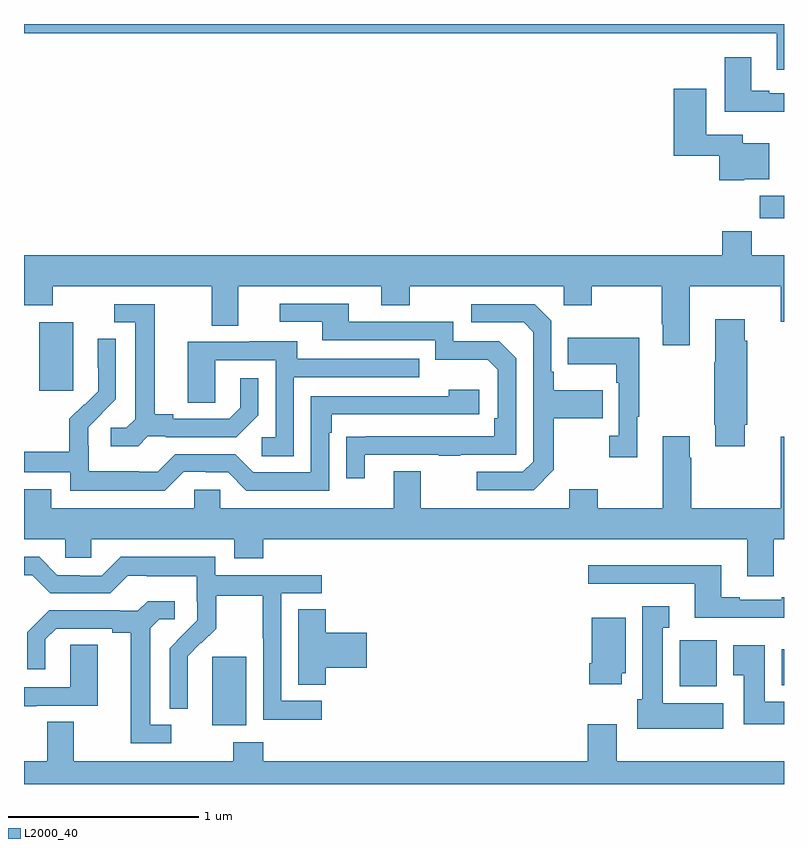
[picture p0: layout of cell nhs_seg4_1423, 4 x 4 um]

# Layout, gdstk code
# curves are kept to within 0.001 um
import gdstk
lib = gdstk.Library(unit=1e-6, precision=1e-09)
def R(c, l, rs):  # rectangles x0, y0, x1, y1
    for r in rs: c.add(gdstk.rectangle(r[:2], r[2:], *l))
def P(c, l, *ps):  # polygons
    for p in ps: c.add(gdstk.Polygon(p, *l))
L2000_40 = (2000, 40)

nhs_seg4_1423 = lib.new_cell('nhs_seg4_1423')
R(nhs_seg4_1423, L2000_40, [(185.99,761.21,186.169,761.571), (188.45,761.414,188.647,761.656), (188.987,761.42,189,761.608), (185.081,762.969,185.26,763.33), (188.872,763.878,189,763.996)])
P(nhs_seg4_1423, L2000_40, [(189,764.9),(185,764.9),(185,764.852),(188.963,764.852),(188.963,764.658),(189,764.658)],
  [(189,764.535),(188.923,764.535),(188.923,764.548),(188.827,764.548),(188.827,764.725),(188.687,764.725),(188.687,764.438),(189,764.438)],
  [(188.79,764.084),(188.923,764.084),(188.923,764.272),(188.782,764.272),(188.782,764.317),(188.59,764.317),(188.59,764.56),(188.42,764.56),(188.42,764.207),(188.66,764.207),(188.66,764.078),(188.79,764.078)],
  [(188.503,763.52),(188.984,763.52),(188.984,763.332),(189,763.332),(189,763.684),(188.831,763.684),(188.831,763.808),(188.675,763.808),(188.675,763.684),(185,763.684),(185,763.421),(185.151,763.421),(185.151,763.52),(185.987,763.52),(185.987,763.312),(186.127,763.312),(186.127,763.52),(186.881,763.52),(186.881,763.421),(187.029,763.421),(187.029,763.52),(187.842,763.52),(187.842,763.421),(187.989,763.421),(187.989,763.52),(188.356,763.52),(188.356,763.321),(188.363,763.321),(188.363,763.209),(188.503,763.209)],
  [(186.793,762.633),(187.183,762.633),(187.183,762.628),(187.295,762.628),(187.295,762.633),(187.59,762.633),(187.59,763.14),(187.5,763.23),(187.26,763.23),(187.26,763.332),(186.709,763.332),(186.709,763.428),(186.345,763.428),(186.345,763.332),(186.569,763.332),(186.569,763.236),(187.164,763.236),(187.164,763.133),(187.441,763.133),(187.494,763.08),(187.494,762.826),(187.474,762.826),(187.474,762.729),(186.697,762.728),(186.697,762.51),(186.793,762.51)],
  [(187.789,762.553),(187.789,762.826),(188.045,762.826),(188.045,762.973),(187.789,762.973),(187.789,763.069),(187.776,763.069),(187.776,763.338),(187.689,763.425),(187.353,763.425),(187.353,763.329),(187.629,763.329),(187.68,763.278),(187.68,762.597),(187.626,762.543),(187.383,762.543),(187.383,762.447),(187.683,762.447)],
  [(185.652,762.729),(185.746,762.729),(185.746,762.726),(186.118,762.726),(186.234,762.842),(186.234,763.036),(186.137,763.036),(186.137,762.879),(186.08,762.822),(185.785,762.822),(185.785,762.845),(185.689,762.845),(185.689,763.425),(185.475,763.425),(185.475,763.329),(185.585,763.329),(185.585,762.821),(185.538,762.774),(185.457,762.774),(185.457,762.677),(185.6,762.677)],
  [(188.794,762.79),(188.807,762.79),(188.807,763.232),(188.794,763.232),(188.794,763.345),(188.639,763.345),(188.639,763.121),(188.632,763.121),(188.632,762.79),(188.639,762.79),(188.639,762.678),(188.794,762.678)],
  [(188.227,762.833),(188.239,762.833),(188.239,763.249),(187.861,763.249),(187.861,763.109),(188.118,763.109),(188.118,763.013),(188.13,763.013),(188.13,762.734),(188.079,762.734),(188.079,762.621),(188.227,762.621)],
  [(185.841,762.543),(185.957,762.543),(185.957,762.54),(186.075,762.54),(186.171,762.444),(186.606,762.444),(186.606,762.749),(186.619,762.749),(186.619,762.846),(187.396,762.846),(187.396,762.976),(187.235,762.976),(187.235,762.942),(186.51,762.942),(186.51,762.54),(186.207,762.54),(186.111,762.636),(185.796,762.636),(185.703,762.543),(185.603,762.543),(185.603,762.547),(185.34,762.547),(185.34,762.681),(185.338,762.681),(185.338,762.778),(185.484,762.926),(185.484,763.244),(185.388,763.244),(185.388,763.09),(185.39,763.09),(185.39,762.968),(185.319,762.897),(185.316,762.9),(185.239,762.823),(185.239,762.649),(185,762.649),(185,762.54),(185.244,762.54),(185.244,762.443),(185.741,762.443)],
  [(186.42,763.041),(187.079,763.041),(187.079,763.137),(186.439,763.137),(186.439,763.231),(186.185,763.231),(186.185,763.227),(185.861,763.227),(185.861,762.907),(186.006,762.907),(186.006,763.131),(186.324,763.131),(186.324,762.726),(186.252,762.726),(186.252,762.625),(186.42,762.625)],
  [(188.947,762.188),(189,762.188),(189,762.727),(188.984,762.727),(188.984,762.352),(188.511,762.352),(188.511,762.617),(188.503,762.617),(188.503,762.73),(188.363,762.73),(188.363,762.352),(188.019,762.352),(188.019,762.451),(187.871,762.451),(187.871,762.352),(187.087,762.352),(187.087,762.547),(186.947,762.547),(186.947,762.352),(186.033,762.352),(186.033,762.45),(185.895,762.45),(185.895,762.352),(185.143,762.352),(185.143,762.451),(185,762.451),(185,762.188),(185.217,762.188),(185.217,762.09),(185.355,762.09),(185.355,762.188),(186.107,762.188),(186.107,762.089),(186.26,762.089),(186.26,762.188),(188.807,762.188),(188.807,761.994),(188.947,761.994)],
  [(186.568,761.337),(186.354,761.337),(186.354,761.904),(186.568,761.904),(186.568,762),(186.006,762),(186.006,762.097),(185.509,762.097),(185.409,761.997),(185.294,761.997),(185.294,762),(185.175,762),(185.079,762.096),(185,762.096),(185,762),(185.043,762),(185.139,761.904),(185.454,761.904),(185.547,761.997),(185.647,761.997),(185.647,761.993),(185.91,761.993),(185.91,761.859),(185.912,761.859),(185.912,761.762),(185.766,761.614),(185.766,761.296),(185.862,761.296),(185.861,761.573),(185.931,761.643),(185.934,761.64),(186.011,761.717),(186.011,761.892),(186.256,761.892),(186.256,761.668),(186.258,761.668),(186.258,761.239),(186.568,761.239)],
  [(189,761.884),(188.987,761.884),(188.987,761.871),(188.767,761.871),(188.767,761.884),(188.671,761.884),(188.671,762.052),(187.971,762.052),(187.971,761.955),(188.531,761.955),(188.531,761.774),(189,761.774)],
  [(185.776,761.211),(185.665,761.211),(185.665,761.719),(185.712,761.766),(185.794,761.766),(185.794,761.863),(185.65,761.863),(185.598,761.811),(185.504,761.811),(185.504,761.814),(185.132,761.814),(185.016,761.698),(185.016,761.505),(185.113,761.505),(185.113,761.661),(185.17,761.718),(185.465,761.718),(185.465,761.696),(185.561,761.696),(185.561,761.115),(185.776,761.115)],
  [(188.68,761.326),(188.362,761.326),(188.362,761.723),(188.395,761.723),(188.395,761.836),(188.255,761.836),(188.255,761.346),(188.228,761.346),(188.228,761.192),(188.68,761.192)],
  [(186.587,761.513),(186.805,761.513),(186.805,761.696),(186.587,761.696),(186.587,761.819),(186.443,761.819),(186.443,761.422),(186.587,761.422)],
  [(188.146,761.484),(188.167,761.484),(188.167,761.776),(187.988,761.776),(187.988,761.536),(187.976,761.536),(187.976,761.424),(188.146,761.424)],
  [(185.065,761.313),(185.389,761.313),(185.389,761.633),(185.244,761.633),(185.244,761.409),(185,761.409),(185,761.309),(185.065,761.309)],
  [(189,761.332),(188.899,761.332),(188.899,761.629),(188.732,761.629),(188.732,761.473),(188.789,761.473),(188.789,761.214),(189,761.214)],
  [(189,761.02),(188.119,761.02),(188.119,761.215),(187.967,761.215),(187.967,761.02),(186.26,761.02),(186.26,761.119),(186.1,761.119),(186.1,761.02),(185.263,761.02),(185.263,761.228),(185.123,761.228),(185.123,761.02),(185,761.02),(185,760.9),(189,760.9)])

lib.write_gds('nhs_seg4_1423.gds')
